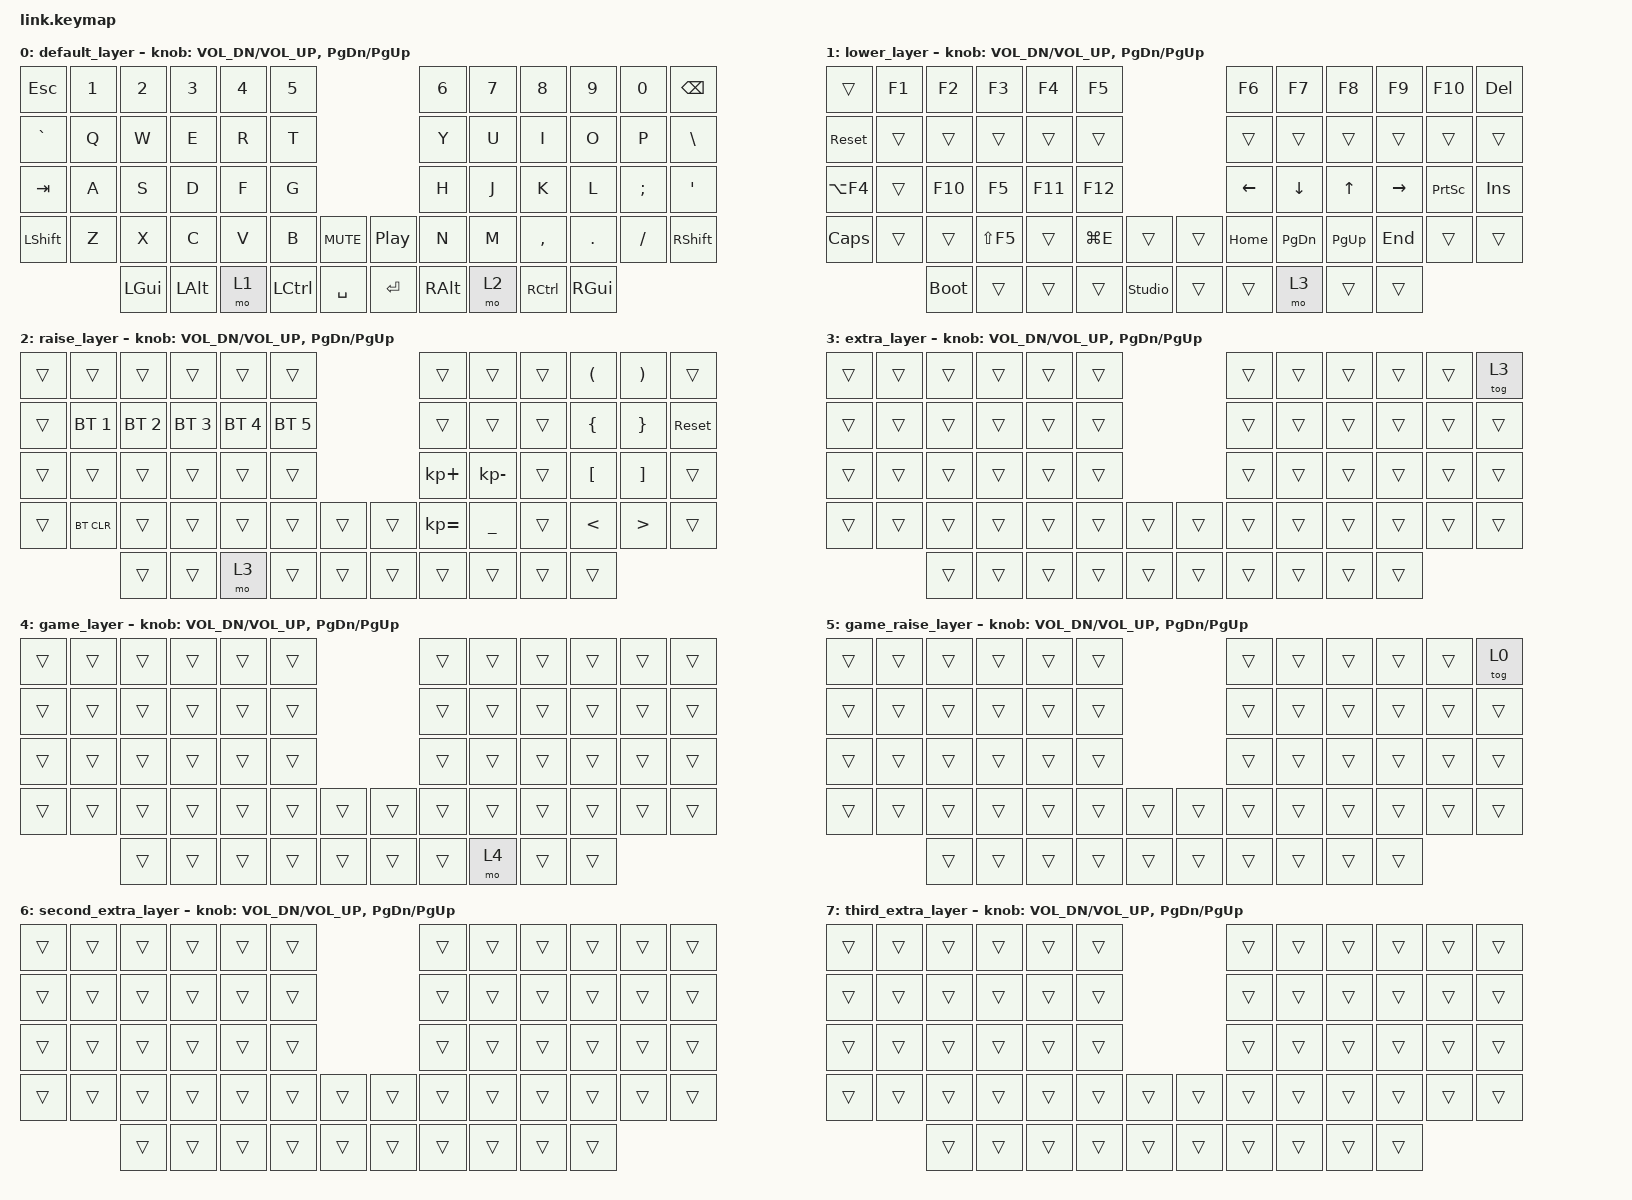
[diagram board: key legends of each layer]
/*
 * Copyright (c) 2026 Gomidroid Productions LLC
 *
 * SPDX-License-Identifier: MIT
 */

#include <behaviors.dtsi>
#include <dt-bindings/zmk/keys.h>
#include <dt-bindings/zmk/bt.h>

/ {
keymap {
    compatible = "zmk,keymap";

    default_layer {
    // --------------------------------------------------------------------------------------------------------
    // | ESC  | 1  | 2    | 3   | 4     | 5    |                 |  6   | 7     | 8    |  9   |   0   | BKSP  |
    // | `    | Q  | W    | E   | R     | T    |                 |  Y   | U     | I    |  O   |   P   | \     |
    // | TAB  | A  | S    | D   | F     | G    |                 |  H   | J     | K    |  L   |   ;   | '     |
    // |SHIFT | Z  | X    | C   | V     | B    | MUTE  || PLAY   |  N   | M     | ,    |  .   |   /   | SHIFT |
    //             | LGUI | ALT | LOWER | LCTL | SPACE || RETURN | RALT | RAISE | RCTL | RGUI |
    bindings = <
    &kp ESC     &kp N1 &kp N2    &kp N3    &kp N4 &kp N5                           &kp N6   &kp N7 &kp N8     &kp N9    &kp N0    &kp BSPC
    &kp GRAVE   &kp Q  &kp W     &kp E     &kp R  &kp T                            &kp Y    &kp U  &kp I      &kp O     &kp P     &kp BSLH
    &kp TAB     &kp A  &kp S     &kp D     &kp F  &kp G                            &kp H    &kp J  &kp K      &kp L     &kp SEMI  &kp APOS
    &kp LSHFT   &kp Z  &kp X     &kp C     &kp V  &kp B     &kp C_MUTE  &kp C_PP   &kp N    &kp M  &kp COMMA  &kp DOT   &kp FSLH  &kp RSHFT
                       &kp LGUI  &kp LALT  &mo 1  &kp LCTRL &kp SPACE   &kp RET    &kp RALT &mo 2  &kp RCTRL  &kp RGUI
    >;

    sensor-bindings = <&inc_dec_kp C_VOL_DN C_VOL_UP &inc_dec_kp PG_DN PG_UP>;
    };

    lower_layer {
    // ------------------------------------------------------------------------------------------------------------------------
    // |      | F1 | F2  | F3     | F4  | F5  |           | F6         | F7         | F8       | F9          | F10   | DEL    |
    // | rset |    |     |        |     |     |           |            |            |          |             |       |        |
    // | Clse |    | F10 | F5     | F11 | F12 |           | LEFT_ARROW | DOWN_ARROW | UP_ARROW | RIGHT_ARROW | PSCRN | INSERT |
    // | CAPS |    |     | LS(F5) |     | Brz |       ||  | HOME       | PG_DN      | PG_UP    | END         |       |        |
    //             |     | boot   | *   |     | ulock ||  |            | Lyr 3      |          |             |     
    bindings = <
    &trans      &kp F1  &kp F2       &kp F3      &kp F4   &kp F5                             &kp F6          &kp F7          &kp F8        &kp F9           &kp F10    &kp DEL
    &sys_reset  &trans  &trans       &trans      &trans   &trans                             &trans          &trans          &trans        &trans           &trans     &trans
    &kp LA(F4)  &trans  &kp F10      &kp F5      &kp F11  &kp F12                            &kp LEFT_ARROW  &kp DOWN_ARROW  &kp UP_ARROW  &kp RIGHT_ARROW  &kp PSCRN  &kp INSERT
    &kp CAPS    &trans  &trans       &kp LS(F5)  &trans   &kp LG(E)  &trans          &trans  &kp HOME        &kp PG_DN       &kp PG_UP     &kp END          &trans     &trans  
                        &bootloader  &trans      &trans   &trans     &studio_unlock  &trans  &trans          &mo 3           &trans        &trans
    >;

    sensor-bindings = <&inc_dec_kp C_VOL_DN C_VOL_UP &inc_dec_kp PG_DN PG_UP>;
    };

    raise_layer {
    // ----------------------------------------------------------------------------
    // |  |        |      |      |       |      |      |   |   |   | ( | ) |      |
    // |  |BT 1    | BT 2 | BT 3 | BT 4  | BT 5 |      |   |   |   | { | } | RSet |
    // |  |        |      |      |       |      |      | + | - |   | [ | ] |      |
    // |  | BT_CLR |      |      |       |      |  ||  | = | _ |   |   |   |      |
    //             |      |      | Lyr 3 |      |  ||  |   | * |   |   |
    bindings = <
    &trans  &trans        &trans        &trans        &trans        &trans                       &trans        &trans          &trans  &kp LPAR  &kp RPAR  &trans
    &trans  &bt BT_SEL 1  &bt BT_SEL 2  &bt BT_SEL 3  &bt BT_SEL 4  &bt BT_SEL 5                 &trans        &trans          &trans  &kp LBRC  &kp RBRC  &sys_reset
    &trans  &trans        &trans        &trans        &trans        &trans                       &kp KP_PLUS   &kp KP_MINUS    &trans  &kp LBKT  &kp RBKT  &trans
    &trans  &bt BT_CLR    &trans        &trans        &trans        &trans       &trans  &trans  &kp KP_EQUAL  &kp UNDERSCORE  &trans  &kp LT    &kp GT    &trans
                          &trans        &trans        &mo 3         &trans       &trans  &trans  &trans  &trans  &trans  &trans
    >;

    sensor-bindings = <&inc_dec_kp C_VOL_DN C_VOL_UP &inc_dec_kp PG_DN PG_UP>;
    };

    extra_layer {
    // ---------------------------------------------------------------------------------------------------
    // |  |  |  |  |  |  |      |  |  |  |  |  | Game |
    // |  |  |  |  |  |  |      |  |  |  |  |  |      |
    // |  |  |  |  |  |  |      |  |  |  |  |  |      |
    // |  |  |  |  |  |  |  ||  |  |  |  |  |  |      |
    //          |  |  |  |  ||  |  |  |  |  |
    bindings = <
    &trans  &trans  &trans  &trans  &trans  &trans                  &trans  &trans  &trans  &trans  &trans  &tog 3
    &trans  &trans  &trans  &trans  &trans  &trans                  &trans  &trans  &trans  &trans  &trans  &trans
    &trans  &trans  &trans  &trans  &trans  &trans                  &trans  &trans  &trans  &trans  &trans  &trans
    &trans  &trans  &trans  &trans  &trans  &trans  &trans  &trans  &trans  &trans  &trans  &trans  &trans  &trans
                    &trans  &trans  &trans  &trans  &trans  &trans  &trans  &trans  &trans  &trans
    >;

    sensor-bindings = <&inc_dec_kp C_VOL_DN C_VOL_UP &inc_dec_kp PG_DN PG_UP>;
    };

    game_layer {
    // --------------------------------------------------------------------------------------------------
    // |  |  |  |  |  |  |     |  |       |  |  |  |  |
    // |  |  |  |  |  |  |     |  |       |  |  |  |  |
    // |  |  |  |  |  |  |     |  |       |  |  |  |  |
    // |  |  |  |  |  |  | ||  |  |       |  |  |  |  |
    //          |  |  |  | ||  |  | GameR |  |  |
    bindings = <
    &trans  &trans  &trans  &trans  &trans  &trans                  &trans  &trans  &trans  &trans  &trans  &trans
    &trans  &trans  &trans  &trans  &trans  &trans                  &trans  &trans  &trans  &trans  &trans  &trans
    &trans  &trans  &trans  &trans  &trans  &trans                  &trans  &trans  &trans  &trans  &trans  &trans
    &trans  &trans  &trans  &trans  &trans  &trans  &trans  &trans  &trans  &trans  &trans  &trans  &trans  &trans
                    &trans  &trans  &trans  &trans  &trans  &trans  &trans  &mo 4   &trans  &trans
    >;

    sensor-bindings = <&inc_dec_kp C_VOL_DN C_VOL_UP &inc_dec_kp PG_DN PG_UP>;
    };

    game_raise_layer {
    // ---------------------------------------------------------------------------------------------------
    // |  |  |  |  |  |  |      |  |   |  |  |  | Type |
    // |  |  |  |  |  |  |      |  |   |  |  |  |      |
    // |  |  |  |  |  |  |      |  |   |  |  |  |      |
    // |  |  |  |  |  |  |  ||  |  |   |  |  |  |      |
    //          |  |  |  |  ||  |  | * |  |  |
    bindings = <
    &trans  &trans  &trans  &trans  &trans  &trans                  &trans  &trans  &trans  &trans  &trans  &tog 0
    &trans  &trans  &trans  &trans  &trans  &trans                  &trans  &trans  &trans  &trans  &trans  &trans
    &trans  &trans  &trans  &trans  &trans  &trans                  &trans  &trans  &trans  &trans  &trans  &trans
    &trans  &trans  &trans  &trans  &trans  &trans  &trans  &trans  &trans  &trans  &trans  &trans  &trans  &trans
                    &trans  &trans  &trans  &trans  &trans  &trans  &trans  &trans  &trans  &trans
    >;

    sensor-bindings = <&inc_dec_kp C_VOL_DN C_VOL_UP &inc_dec_kp PG_DN PG_UP>;
    };

    second_extra_layer {
    // ---------------------------------------------------------------------------------------------------
    // |  |  |  |  |  |  |      |  |  |  |  |  |  |
    // |  |  |  |  |  |  |      |  |  |  |  |  |  |
    // |  |  |  |  |  |  |      |  |  |  |  |  |  |
    // |  |  |  |  |  |  |  ||  |  |  |  |  |  |  |
    //          |  |  |  |  ||  |  |  |  |  |
    bindings = <
    &trans  &trans  &trans  &trans  &trans  &trans                  &trans  &trans  &trans  &trans  &trans  &trans
    &trans  &trans  &trans  &trans  &trans  &trans                  &trans  &trans  &trans  &trans  &trans  &trans
    &trans  &trans  &trans  &trans  &trans  &trans                  &trans  &trans  &trans  &trans  &trans  &trans
    &trans  &trans  &trans  &trans  &trans  &trans  &trans  &trans  &trans  &trans  &trans  &trans  &trans  &trans
                    &trans  &trans  &trans  &trans  &trans  &trans  &trans  &trans  &trans  &trans
    >;

    sensor-bindings = <&inc_dec_kp C_VOL_DN C_VOL_UP &inc_dec_kp PG_DN PG_UP>;
    };

    third_extra_layer {
    // ---------------------------------------------------------------------------------------------------
    // |  |  |  |  |  |  |      |  |  |  |  |  |  |
    // |  |  |  |  |  |  |      |  |  |  |  |  |  |
    // |  |  |  |  |  |  |      |  |  |  |  |  |  |
    // |  |  |  |  |  |  |  ||  |  |  |  |  |  |  |
    //          |  |  |  |  ||  |  |  |  |  |
    bindings = <
    &trans  &trans  &trans  &trans  &trans  &trans                  &trans  &trans  &trans  &trans  &trans  &trans
    &trans  &trans  &trans  &trans  &trans  &trans                  &trans  &trans  &trans  &trans  &trans  &trans
    &trans  &trans  &trans  &trans  &trans  &trans                  &trans  &trans  &trans  &trans  &trans  &trans
    &trans  &trans  &trans  &trans  &trans  &trans  &trans  &trans  &trans  &trans  &trans  &trans  &trans  &trans
                    &trans  &trans  &trans  &trans  &trans  &trans  &trans  &trans  &trans  &trans
    >;

    sensor-bindings = <&inc_dec_kp C_VOL_DN C_VOL_UP &inc_dec_kp PG_DN PG_UP>;
    };
};
};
